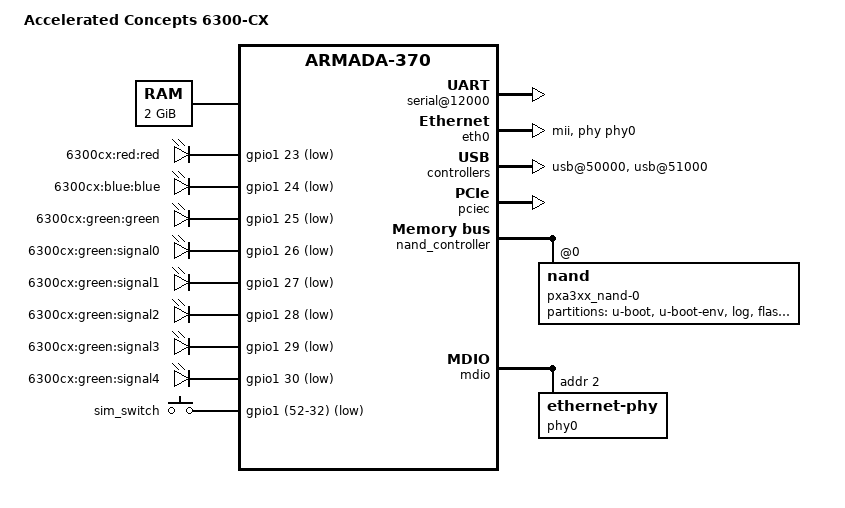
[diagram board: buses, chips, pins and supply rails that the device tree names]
/*
 * Device Tree file for AcceleratedConcepts 6300-CX
 *
 * Greg Ungerer <greg.ungerer@accelerated.com>
 *
 * This file is licensed under the terms of the GNU General Public
 * License version 2.  This program is licensed "as is" without any
 * warranty of any kind, whether express or implied.
 */

/dts-v1/;
#include "armada-370.dtsi"
#include <dt-bindings/gpio/gpio.h>
#include <dt-bindings/input/input.h>

/ {
	model = "Accelerated Concepts 6300-CX";
	compatible = "accelerated,6300cx", "marvell,armada370", "marvell,armada-370-xp";

	chosen {
		bootargs = "console=ttyS0,115200";
	};

	memory@0 {
		device_type = "memory";
		reg = <0x00000000 0x80000000>; /* 2 GB */
	};

	soc {
		ranges = <MBUS_ID(0xf0, 0x01) 0 0xd0000000 0x100000
			  MBUS_ID(0x01, 0xe0) 0 0xfff00000 0x100000
			  MBUS_ID(0x09, 0x01) 0 0xf1100000 0x10000>;

		internal-regs {
			serial@12000 {
				clock-frequency = <200000000>;
				status = "okay";
			};
			timer@20300 {
				clock-frequency = <600000000>;
				status = "okay";
			};

			gpio_leds {
				compatible = "gpio-leds";
				pinctrl-names = "default";
				pinctrl-0 = <&red_led_pin &blue_led_pin &green_led_pin &signal0_led_pin &signal1_led_pin &signal2_led_pin &signal3_led_pin &signal4_led_pin>;

				red_led {
					label = "6300cx:red:red";
					gpios = <&gpio1 23 1>;
					linux,default-trigger = "red";
				};

				blue_led {
					label = "6300cx:blue:blue";
					gpios = <&gpio1 24 1>;
					linux,default-trigger = "blue";
				};

				green_led {
					label = "6300cx:green:green";
					gpios = <&gpio1 25 1>;
					linux,default-trigger = "green";
				};

				green_signal0_led {
					label = "6300cx:green:signal0";
					gpios = <&gpio1 26 1>;
					linux,default-trigger = "signal0";
				};

				green_signal1_led {
					label = "6300cx:green:signal1";
					gpios = <&gpio1 27 1>;
					linux,default-trigger = "signal1";
				};

				green_signal2_led {
					label = "6300cx:green:signal2";
					gpios = <&gpio1 28 1>;
					linux,default-trigger = "signal2";
				};

				green_signal3_led {
					label = "6300cx:green:signal3";
					gpios = <&gpio1 29 1>;
					linux,default-trigger = "signal3";
				};

				green_signal4_led {
					label = "6300cx:green:signal4";
					gpios = <&gpio1 30 1>;
					linux,default-trigger = "signal4";
				};
			};

			gpio_usb_enables {
				pinctrl-names = "default";
				pinctrl-0 = <&cell_disable_pin &cell_reset_pin>;
			};

			eth0: ethernet@70000 {
				status = "okay";
				phy = <&phy0>;
				phy-mode = "mii";
			};

			crypto@90000 {
				status = "okay";
			};

			usb@50000 {
				status = "okay";
			};

			usb@51000 {
				status = "okay";
			};
		};
	};

	gpio-keys {
		compatible = "gpio-keys";
		sim-button {
			label = "sim_switch";
			linux,code = <KEY_SELECT>;
			gpios = <&gpio1 (52-32) GPIO_ACTIVE_LOW>;
		};
	};
};

&pinctrl {
	red_led_pin: red-led-pin {
		marvell,pins = "mpp55";
		marvell,function = "gpo";
	};

	blue_led_pin: blue-led-pin {
		marvell,pins = "mpp56";
		marvell,function = "gpo";
	};

	green_led_pin: green-led-pin {
		marvell,pins = "mpp57";
		marvell,function = "gpo";
	};

	signal0_led_pin: signal0-led-pin {
		marvell,pins = "mpp58";
		marvell,function = "gpo";
	};

	signal1_led_pin: signal1-led-pin {
		marvell,pins = "mpp59";
		marvell,function = "gpo";
	};

	signal2_led_pin: signal2-led-pin {
		marvell,pins = "mpp60";
		marvell,function = "gpo";
	};

	signal3_led_pin: signal3-led-pin {
		marvell,pins = "mpp61";
		marvell,function = "gpo";
	};

	signal4_led_pin: signal3-led-pin {
		marvell,pins = "mpp62";
		marvell,function = "gpo";
	};

	cell_disable_pin: cell-disable-pin {
		marvell,pins = "mpp2";
		marvell,function = "gpo";
	};

	cell_reset_pin: cell_reset-pin {
		marvell,pins = "mpp48";
		marvell,function = "gpo";
	};
};

&pciec {
	status = "okay";

	/* Internal mini-PCIe connector */
	pcie@1,0 {
		/* Port 0, Lane 0 */
		status = "okay";
	};

	pcie@2,0 {
		/* Port 1, Lane 0 */
		status = "okay";
	};
};

&nand_controller {
	status = "okay";

	nand@0 {
		reg = <0>;
		label = "pxa3xx_nand-0";
		nand-rb = <0>;
		marvell,nand-keep-config;
		nand-on-flash-bbt;
		nand-ecc-strength = <4>;
		nand-ecc-step-size = <512>;

		partitions {
			compatible = "fixed-partitions";
			#address-cells = <1>;
			#size-cells = <1>;

			partition@0 {
				label="u-boot";
				reg = <0x00000000 0x00200000>;
			};
			partition@1 {
				label="u-boot-env";
				reg = <0x00200000 0x00100000>;
			};
			partition@2 {
				label="log";
				reg = <0x00300000 0x00200000>;
			};
			partition@3 {
				label="flash";
				reg = <0x00500000 0>;
			};
			partition@4 {
				label="all";
				reg = <0x00000000 0>;
			};
		};
	};
};

&mdio {
	pinctrl-0 = <&mdio_pins>;
	pinctrl-names = "default";
	phy0: ethernet-phy@0 {
		reg = <2>;
		unlink-power-down;
	};
};
